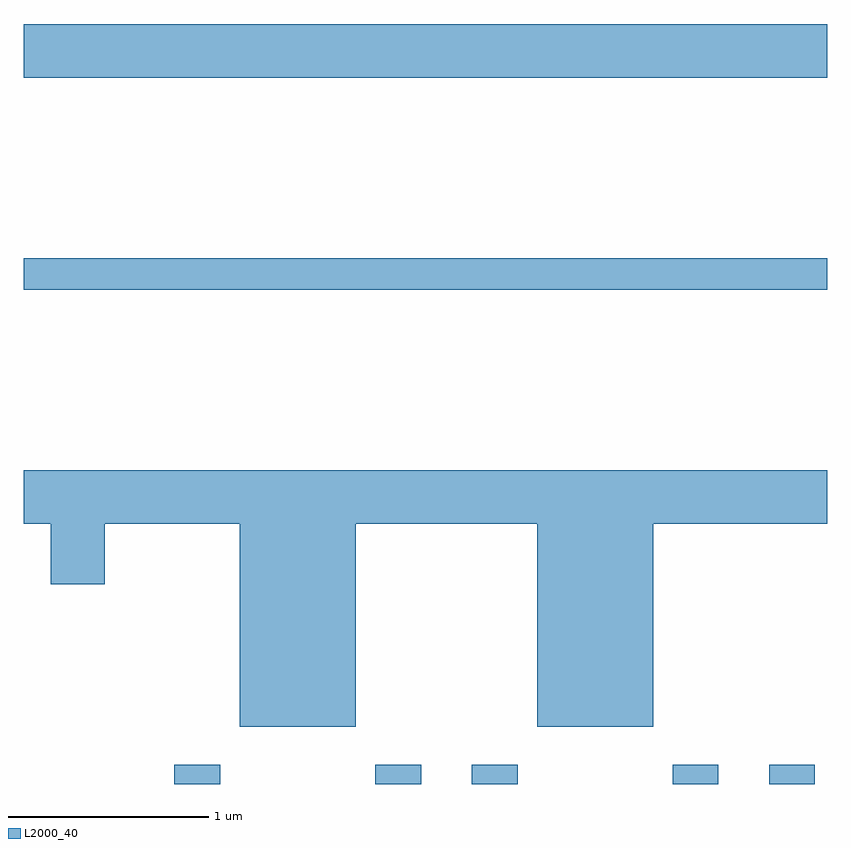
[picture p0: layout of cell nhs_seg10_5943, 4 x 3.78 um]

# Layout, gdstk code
import gdstk
lib = gdstk.Library(unit=1e-6, precision=1e-09)
def R(c, l, rs):  # rectangles x0, y0, x1, y1
    for r in rs: c.add(gdstk.rectangle(r[:2], r[2:], *l))
def P(c, l, *ps):  # polygons
    for p in ps: c.add(gdstk.Polygon(p, *l))
L2000_40 = (2000, 40)

nhs_seg10_5943 = lib.new_cell('nhs_seg10_5943')
R(nhs_seg10_5943, L2000_40, [(360.361,2212.522,360.589,2212.619), (361.361,2212.522,361.589,2212.619), (361.841,2212.522,362.069,2212.619), (362.841,2212.522,363.069,2212.619), (363.321,2212.522,363.549,2212.619), (359.611,2214.981,363.611,2215.139), (359.611,2216.036,363.611,2216.304)])
P(nhs_seg10_5943, L2000_40, [(361.264,2213.816),(362.166,2213.816),(362.166,2212.806),(362.744,2212.806),(362.744,2213.816),(363.611,2213.816),(363.611,2214.084),(359.611,2214.084),(359.611,2213.816),(359.746,2213.816),(359.746,2213.516),(360.014,2213.516),(360.014,2213.816),(360.686,2213.816),(360.686,2212.806),(361.264,2212.806)])

lib.write_gds('nhs_seg10_5943.gds')
